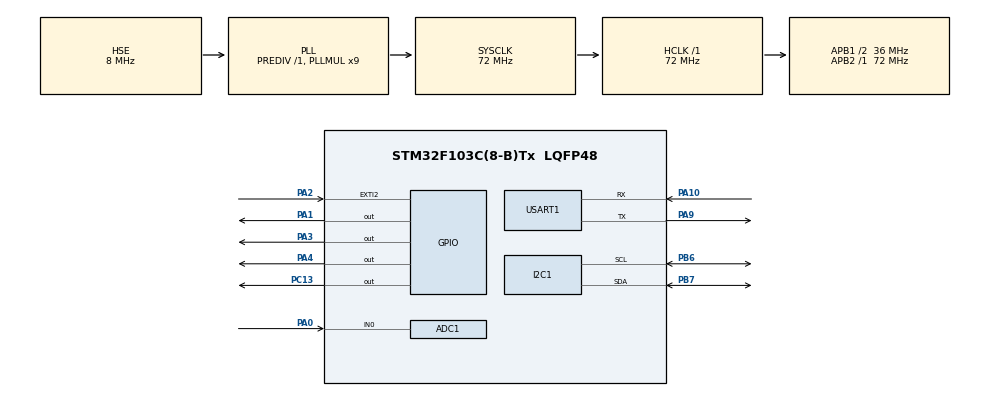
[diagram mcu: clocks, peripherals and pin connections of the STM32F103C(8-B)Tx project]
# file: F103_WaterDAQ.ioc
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ADC1.Channel-0\#ChannelRegularConversion=ADC_CHANNEL_0
ADC1.NbrOfConversionFlag=1
ADC1.Rank-0\#ChannelRegularConversion=1
ADC1.SamplingTime-0\#ChannelRegularConversion=ADC_SAMPLETIME_1CYCLE_5
ADC1.master=1
Mcu.Family=STM32F1
Mcu.Name=STM32F103C(8-B)Tx
Mcu.Package=LQFP48
NVIC.EXTI2_IRQn=true\:2\:0\:true\:false\:true\:true\:true\:true
NVIC.PriorityGroup=NVIC_PRIORITYGROUP_4
PA0-WKUP.Signal=ADCx_IN0
PA1.GPIO_ModeDefaultOutputPP=GPIO_MODE_OUTPUT_OD
PA1.GPIO_PuPd=GPIO_PULLUP
PA1.GPIO_Speed=GPIO_SPEED_FREQ_HIGH
PA1.Signal=GPIO_Output
PA10.Mode=Asynchronous
PA10.Signal=USART1_RX
PA13.Mode=Serial_Wire
PA13.Signal=SYS_JTMS-SWDIO
PA14.Mode=Serial_Wire
PA14.Signal=SYS_JTCK-SWCLK
PA2.GPIO_ModeDefaultEXTI=GPIO_MODE_IT_RISING_FALLING
PA2.GPIO_PuPd=GPIO_PULLUP
PA2.Signal=GPXTI2
PA3.GPIO_PuPd=GPIO_NOPULL
PA3.PinState=GPIO_PIN_SET
PA3.Signal=GPIO_Output
PA4.Signal=GPIO_Output
PA9.Mode=Asynchronous
PA9.Signal=USART1_TX
PB6.Mode=I2C
PB6.Signal=I2C1_SCL
PB7.Mode=I2C
PB7.Signal=I2C1_SDA
PC13-TAMPER-RTC.PinState=GPIO_PIN_SET
PC13-TAMPER-RTC.Signal=GPIO_Output
PD0-OSC_IN.Mode=HSE-External-Oscillator
PD0-OSC_IN.Signal=RCC_OSC_IN
PD1-OSC_OUT.Mode=HSE-External-Oscillator
PD1-OSC_OUT.Signal=RCC_OSC_OUT
ProjectManager.HeapSize=0x200
ProjectManager.StackSize=0x400
ProjectManager.TargetToolchain=MDK-ARM V5
RCC.ADCPresc=RCC_ADCPCLK2_DIV6
RCC.AHBFreq_Value=72000000
RCC.APB1CLKDivider=RCC_HCLK_DIV2
RCC.APB1Freq_Value=36000000
RCC.APB1TimFreq_Value=72000000
RCC.APB2Freq_Value=72000000
RCC.APB2TimFreq_Value=72000000
RCC.HCLKFreq_Value=72000000
RCC.PLLMUL=RCC_PLL_MUL9
RCC.PLLSourceVirtual=RCC_PLLSOURCE_HSE
RCC.SYSCLKFreq_VALUE=72000000
RCC.SYSCLKSource=RCC_SYSCLKSOURCE_PLLCLK
RCC.USBFreq_Value=72000000
SH.ADCx_IN0.0=ADC1_IN0,IN0
USART1.VirtualMode=VM_ASYNC
board=custom

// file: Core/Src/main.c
/* USER CODE BEGIN Header */
/**
  ******************************************************************************
  * @file           : main.c
  * @brief          : Main program body
  ******************************************************************************
  * @attention
  *
  * Copyright (c) 2026 STMicroelectronics.
  * All rights reserved.
  *
  * This software is licensed under terms that can be found in the LICENSE file
  * in the root directory of this software component.
  * If no LICENSE file comes with this software, it is provided AS-IS.
  *
  ******************************************************************************
  */
/* USER CODE END Header */
#include "main.h"

/* USER CODE BEGIN Includes */
#include <stdio.h>

/* USER CODE END Includes */

ADC_HandleTypeDef hadc1;

I2C_HandleTypeDef hi2c1;

UART_HandleTypeDef huart1;

void SystemClock_Config(void);
static void MX_GPIO_Init(void);
static void MX_USART1_UART_Init(void);
static void MX_I2C1_Init(void);
static void MX_ADC1_Init(void);

/* USER CODE BEGIN 0 */
/* ===== 6x8 ASCII 字库 + 文字显示 ===== */
static const uint8_t font6x8[95][6] = {  {0x00,0x00,0x00,0x00,0x00,0x00},  /* SP */
  {0x00,0x00,0x2F,0x00,0x00,0x00},  /* ! */
  {0x00,0x03,0x00,0x03,0x00,0x00},  /* " */
  {0x0A,0x3A,0x3F,0x0F,0x0A,0x00},  /* # */
  {0x00,0x26,0x75,0x2F,0x39,0x00},  /* $ */
  {0x27,0x15,0x3F,0x2A,0x39,0x00},  /* % */
  {0x3F,0x2D,0x33,0x28,0x00,0x00},  /* & */
  {0x00,0x00,0x03,0x00,0x00,0x00},  /* ' */
  {0x00,0x3E,0x41,0x80,0x00,0x00},  /* ( */
  {0x00,0x80,0x41,0x3E,0x00,0x00},  /* ) */
  {0x00,0x06,0x0F,0x06,0x00,0x00},  /* * */
  {0x08,0x08,0x3E,0x08,0x08,0x00},  /* + */
  {0x00,0x80,0x60,0x00,0x00,0x00},  /* , */
  {0x00,0x08,0x08,0x08,0x00,0x00},  /* - */
  {0x00,0x00,0x20,0x00,0x00,0x00},  /* . */
  {0x00,0x40,0x38,0x06,0x01,0x00},  /* / */
  {0x1E,0x29,0x25,0x1E,0x00,0x00},  /* 0 */
  {0x00,0x22,0x3F,0x20,0x00,0x00},  /* 1 */
  {0x00,0x22,0x31,0x29,0x27,0x00},  /* 2 */
  {0x00,0x21,0x25,0x25,0x1B,0x00},  /* 3 */
  {0x18,0x14,0x13,0x3F,0x10,0x00},  /* 4 */
  {0x00,0x27,0x25,0x25,0x19,0x00},  /* 5 */
  {0x00,0x1E,0x27,0x25,0x1D,0x00},  /* 6 */
  {0x00,0x01,0x31,0x0D,0x03,0x00},  /* 7 */
  {0x00,0x3B,0x25,0x25,0x1B,0x00},  /* 8 */
  {0x2E,0x29,0x29,0x1E,0x00,0x00},  /* 9 */
  {0x00,0x00,0x24,0x00,0x00,0x00},  /* : */
  {0x00,0x80,0x64,0x00,0x00,0x00},  /* ; */
  {0x00,0x08,0x14,0x22,0x00,0x00},  /* < */
  {0x00,0x14,0x14,0x14,0x14,0x00},  /* = */
  {0x00,0x22,0x14,0x08,0x00,0x00},  /* > */
  {0x00,0x29,0x09,0x0E,0x00,0x00},  /* ? */
  {0x7C,0x82,0xBD,0x9D,0x3E,0x00},  /* @ */
  {0x00,0x3E,0x11,0x3E,0x00,0x00},  /* A */
  {0x00,0x3F,0x25,0x25,0x1B,0x00},  /* B */
  {0x1E,0x21,0x21,0x21,0x00,0x00},  /* C */
  {0x3F,0x21,0x21,0x1E,0x00,0x00},  /* D */
  {0x00,0x3F,0x25,0x25,0x00,0x00},  /* E */
  {0x00,0x3F,0x05,0x05,0x00,0x00},  /* F */
  {0x1E,0x21,0x25,0x3D,0x00,0x00},  /* G */
  {0x3F,0x04,0x04,0x3F,0x00,0x00},  /* H */
  {0x00,0x21,0x3F,0x21,0x00,0x00},  /* I */
  {0x00,0x21,0x21,0x3F,0x00,0x00},  /* J */
  {0x00,0x3F,0x0C,0x12,0x21,0x00},  /* K */
  {0x00,0x3F,0x20,0x20,0x00,0x00},  /* L */
  {0x06,0x08,0x06,0x3F,0x00,0x00},  /* M */
  {0x00,0x3F,0x0C,0x3F,0x00,0x00},  /* N */
  {0x1E,0x21,0x21,0x21,0x1E,0x00},  /* O */
  {0x00,0x3F,0x09,0x09,0x06,0x00},  /* P */
  {0x1E,0x21,0x61,0xA1,0x9E,0x00},  /* Q */
  {0x00,0x3F,0x09,0x09,0x36,0x00},  /* R */
  {0x00,0x26,0x25,0x29,0x19,0x00},  /* S */
  {0x01,0x01,0x3F,0x01,0x01,0x00},  /* T */
  {0x1F,0x20,0x20,0x1F,0x00,0x00},  /* U */
  {0x00,0x1F,0x20,0x1F,0x00,0x00},  /* V */
  {0x00,0x3F,0x04,0x3F,0x00,0x00},  /* W */
  {0x21,0x12,0x0C,0x12,0x21,0x00},  /* X */
  {0x01,0x06,0x38,0x06,0x01,0x00},  /* Y */
  {0x21,0x39,0x27,0x21,0x00,0x00},  /* Z */
  {0x00,0xFF,0x81,0x00,0x00,0x00},  /* [ */
  {0x00,0x01,0x0E,0x30,0x40,0x00},  /* \ */
  {0x00,0x00,0x81,0xFF,0x00,0x00},  /* ] */
  {0x00,0x06,0x01,0x06,0x00,0x00},  /* ^ */
  {0x80,0x80,0x80,0x80,0x80,0x00},  /* _ */
  {0x00,0x00,0x01,0x00,0x00,0x00},  /* ` */
  {0x00,0x34,0x34,0x34,0x3C,0x00},  /* a */
  {0x00,0x3F,0x24,0x24,0x1C,0x00},  /* b */
  {0x00,0x38,0x24,0x24,0x00,0x00},  /* c */
  {0x38,0x24,0x24,0x3F,0x00,0x00},  /* d */
  {0x00,0x18,0x2C,0x2C,0x2C,0x00},  /* e */
  {0x04,0x04,0x3F,0x05,0x01,0x00},  /* f */
  {0xFC,0xD4,0xD4,0xDC,0x00,0x00},  /* g */
  {0x00,0x3F,0x04,0x04,0x3C,0x00},  /* h */
  {0x00,0x24,0x24,0x3D,0x20,0x00},  /* i */
  {0x00,0x84,0x84,0xFD,0x00,0x00},  /* j */
  {0x00,0x3F,0x08,0x14,0x20,0x00},  /* k */
  {0x00,0x21,0x21,0x3F,0x20,0x00},  /* l */
  {0x3C,0x04,0x3C,0x04,0x3C,0x00},  /* m */
  {0x00,0x3C,0x04,0x04,0x3C,0x00},  /* n */
  {0x18,0x24,0x24,0x18,0x00,0x00},  /* o */
  {0x00,0xFC,0x24,0x24,0x1C,0x00},  /* p */
  {0x38,0x24,0x24,0xFC,0x00,0x00},  /* q */
  {0x00,0x3C,0x04,0x04,0x0C,0x00},  /* r */
  {0x00,0x2C,0x2C,0x34,0x34,0x00},  /* s */
  {0x04,0x3E,0x24,0x24,0x00,0x00},  /* t */
  {0x00,0x3C,0x20,0x20,0x3C,0x00},  /* u */
  {0x00,0x1C,0x20,0x1C,0x00,0x00},  /* v */
  {0x0C,0x30,0x18,0x38,0x04,0x00},  /* w */
  {0x24,0x18,0x08,0x18,0x24,0x00},  /* x */
  {0x80,0x9C,0x60,0x1C,0x00,0x00},  /* y */
  {0x00,0x24,0x3C,0x24,0x00,0x00},  /* z */
  {0x00,0x08,0xF7,0x81,0x00,0x00},  /* { */
  {0x00,0x00,0xFF,0x00,0x00,0x00},  /* | */
  {0x00,0x81,0xF7,0x08,0x00,0x00},  /* } */
  {0x08,0x18,0x10,0x18,0x00,0x00},  /* ~ */};
static void oled_setpos(uint8_t page, uint8_t col);
static void oled_putchar(char c);
static void oled_puts(uint8_t page, uint8_t col, const char *s);
/* ===== SSD1306 OLED 最小驱动 ===== */
#define OLED_ADDR   0x78
static uint8_t g_oled_use_addr = 0x78;   /* 运行时可变：0x78 或 0x7A */
static void oled_cmd(uint8_t c);
static void i2c_bus_recover(void);
static void oled_dat(const uint8_t *buf, uint16_t len);
static void oled_init(void);
static void oled_fill(uint8_t val);
typedef enum { ST_IDLE = 0, ST_PRESS, ST_LONG } touch_state_t;

static touch_state_t st_touch = ST_IDLE;   /* 当前状态 */
static uint32_t t_press = 0;               /* 按下时刻 */
static uint32_t g_short_cnt = 0;           /* 短按次数 */
static uint32_t g_long_cnt  = 0;           /* 长按次数 */
static uint8_t  g_page   = 0;           /* 0=信息页 1=计数页 */
static uint8_t  g_dirty  = 1;           /* 1=需要重绘 */
static uint32_t g_tds_mv = 0;            /* TDS 输出电压 mV */
static uint32_t g_adc_raw = 0;           /* ADC 原始值 */
static uint32_t g_tds_ppm = 0;            /* 换算出的 TDS 值 ppm */
static uint8_t  g_pump = 0;                /* 水泵状态 0=关 1=开 */
static uint8_t  g_i2c_err = 0;             /* I2C 连续失败次数 */
static uint32_t g_pump_t0 = 0;               /* 水泵启动时刻，用于 3 秒自动关闭 */
static uint8_t  g_last_lv = 1;               /* 上次采到的触摸电平 */
static uint8_t  g_touch_stable = 0;         /* 同一电平连续采样次数（去抖） */
static int16_t  g_temp_x10 = -999;          /* 温度 ×10（-999=未读到） */
static uint8_t  g_ds_busy = 0;             /* 1=正在转换 */
static uint32_t g_ds_t0 = 0;
static void touch_fsm(void);
static void oled_draw_page(void);
static void tds_sample(void);
static void led_blink(uint8_t times, uint16_t on_ms, uint16_t off_ms);
static void sw_i2c_init(void);
static void sw_start(void);
static void sw_stop(void);
static uint8_t sw_write(uint8_t b);
static uint8_t sw_probe(uint8_t addr);
/* ===== DS18B20 单总线驱动 ===== */
static void dwt_init(void);
static void delay_us(uint32_t us);
static uint8_t ow_reset(void);
static void ow_write_bit(uint8_t b);
static uint8_t ow_read_bit(void);
static void ow_write_byte(uint8_t v);
static uint8_t ow_read_byte(void);

static uint8_t ds_start(void);
static int16_t ds_read(void);
static int16_t ds18b20_read_raw(void);

/* USER CODE END 0 */

int main(void)
{

  /* MCU Configuration--------------------------------------------------------*/

  /* Reset of all peripherals, Initializes the Flash interface and the Systick. */
  HAL_Init();

  /* Configure the system clock */
  SystemClock_Config();

  /* Initialize all configured peripherals */
  MX_GPIO_Init();
  MX_USART1_UART_Init();
  MX_I2C1_Init();
  MX_ADC1_Init();
  /* USER CODE BEGIN 2 */
  /* ===== I2C 探测：OLED 地址 0x78 或 0x7A ===== */
  /* 蜂鸣器实测为低电平触发：上电拉高，避免一直响 */
  HAL_GPIO_WritePin(GPIOA, GPIO_PIN_3, GPIO_PIN_SET);
  dwt_init();                     /* DWT 周期计数器，用于微秒延时 */
  uint8_t g_oled_addr = 0;
  sw_i2c_init();                  /* 软件 I2C：SCL=PB7，SDA=PB6（按本板走线） */
  if (sw_probe(0x78) == 0)      g_oled_addr = 1;
  else if (sw_probe(0x7A) == 0) g_oled_addr = 2;
  g_i2c_err = 0;
  if (g_oled_addr)
  {
    led_blink(2, 250, 150);             /* 蓝灯慢闪 2 次 = 探测到屏 */
    oled_init();
    oled_fill(0xFF);                    /* 全屏点亮 800ms 自检 */
    HAL_Delay(800);
    oled_fill(0x00);
    oled_puts(1, 4, "Group 25");
    oled_puts(3, 4, "OLED OK");
    oled_puts(5, 4, "F103C8T6");
  }
  else
  {
    led_blink(8, 80, 80);               /* 蓝灯快闪 8 次 = 没找到屏 */
  }

  /* ===== 屏幕点亮测试模式：上电即全屏黑白交替，验证屏与 I2C ===== */
#define OLED_TEST_MODE  0
#if OLED_TEST_MODE
  led_blink(3, 100, 100);              /* 蓝灯闪 3 下：程序已跑起来 */
  {
    uint8_t try_addr[2] = { 0x78, 0x7A };
    uint8_t k;
    for (k = 0; k < 2; k++)
    {
      g_oled_use_addr = try_addr[k];
      g_i2c_err = 0;
      oled_init();                     /* 若该地址无器件，传输全部失败，屏无反应 */
      oled_fill(0xFF);                 /* 全屏点亮 */
      HAL_Delay(300);
      if (g_i2c_err == 0) { break; }   /* 无失败 → 这个地址有器件 */
    }
  }
  while (1)                          /* 停在测试循环：黑白交替 + 蓝灯同步闪 */
  {
    oled_fill(0xFF);  HAL_GPIO_WritePin(GPIOC, GPIO_PIN_13, GPIO_PIN_RESET);  HAL_Delay(600);
    oled_fill(0x00);  HAL_GPIO_WritePin(GPIOC, GPIO_PIN_13, GPIO_PIN_SET);    HAL_Delay(600);
  }
#endif
  /* USER CODE END 2 */

  /* Infinite loop */
  while (1)
  {

    /* USER CODE BEGIN 3 */
    touch_fsm();                                  /* 触摸状态机，5ms 一次 */
    static uint32_t t_next = 0;
    if (HAL_GetTick() >= t_next) { t_next = HAL_GetTick() + 500; tds_sample(); g_dirty = 1; }  /* 每 500ms 采一次 */
    /* DS18B20 非阻塞：启动转换 → 等 760ms → 读取 */
    if (!g_ds_busy) {
      if (ds_start()) { g_ds_busy = 1; g_ds_t0 = HAL_GetTick(); }
    } else if ((HAL_GetTick() - g_ds_t0) >= 760) {
      int16_t raw = ds_read();
      g_ds_busy = 0;
      if (raw != -999) g_temp_x10 = (int16_t)((raw * 10) / 16);   /* raw*0.0625*10 */
      g_dirty = 1;
    }
    /* 水泵自动关闭：运行满 3 秒 */
    if (g_pump && (HAL_GetTick() - g_pump_t0 >= 3000)) {
      g_pump = 0;
      HAL_GPIO_WritePin(GPIOA, GPIO_PIN_4, GPIO_PIN_RESET);
      HAL_GPIO_WritePin(GPIOC, GPIO_PIN_13, GPIO_PIN_SET);
      g_dirty = 1;
    }
    /* TDS 超过 500ppm 视为水质异常：蜂鸣器报警（低电平响） */
    HAL_GPIO_WritePin(GPIOA, GPIO_PIN_3, (g_tds_ppm >= 500) ? GPIO_PIN_RESET : GPIO_PIN_SET);   /* 低电平响 */
    if (g_dirty) { g_dirty = 0; oled_draw_page(); }   /* 只有变化才重绘，省 I2C 带宽 */
    /* I2C 看门狗：连续 3 次失败 → 恢复总线 + 重初始化屏 */
    if (g_i2c_err >= 3) {
      i2c_bus_recover();
      oled_init();
      g_dirty = 1;
    }
    HAL_Delay(5);
  }
  /* USER CODE END 3 */
}

void SystemClock_Config(void)
{
  RCC_OscInitTypeDef RCC_OscInitStruct = {0};
  RCC_ClkInitTypeDef RCC_ClkInitStruct = {0};
  RCC_PeriphCLKInitTypeDef PeriphClkInit = {0};

  /** Initializes the RCC Oscillators according to the specified parameters
  * in the RCC_OscInitTypeDef structure.
  */
  RCC_OscInitStruct.OscillatorType = RCC_OSCILLATORTYPE_HSE;
  RCC_OscInitStruct.HSEState = RCC_HSE_ON;
  RCC_OscInitStruct.HSEPredivValue = RCC_HSE_PREDIV_DIV1;
  RCC_OscInitStruct.HSIState = RCC_HSI_ON;
  RCC_OscInitStruct.PLL.PLLState = RCC_PLL_ON;
  RCC_OscInitStruct.PLL.PLLSource = RCC_PLLSOURCE_HSE;
  RCC_OscInitStruct.PLL.PLLMUL = RCC_PLL_MUL9;
  if (HAL_RCC_OscConfig(&RCC_OscInitStruct) != HAL_OK)
  {
    Error_Handler();
  }

  /** Initializes the CPU, AHB and APB buses clocks
  */
  RCC_ClkInitStruct.ClockType = RCC_CLOCKTYPE_HCLK|RCC_CLOCKTYPE_SYSCLK
                              |RCC_CLOCKTYPE_PCLK1|RCC_CLOCKTYPE_PCLK2;
  RCC_ClkInitStruct.SYSCLKSource = RCC_SYSCLKSOURCE_PLLCLK;
  RCC_ClkInitStruct.AHBCLKDivider = RCC_SYSCLK_DIV1;
  RCC_ClkInitStruct.APB1CLKDivider = RCC_HCLK_DIV2;
  RCC_ClkInitStruct.APB2CLKDivider = RCC_HCLK_DIV1;

  if (HAL_RCC_ClockConfig(&RCC_ClkInitStruct, FLASH_LATENCY_2) != HAL_OK)
  {
    Error_Handler();
  }
  PeriphClkInit.PeriphClockSelection = RCC_PERIPHCLK_ADC;
  PeriphClkInit.AdcClockSelection = RCC_ADCPCLK2_DIV6;
  if (HAL_RCCEx_PeriphCLKConfig(&PeriphClkInit) != HAL_OK)
  {
    Error_Handler();
  }
}

static void MX_ADC1_Init(void)
{

  ADC_ChannelConfTypeDef sConfig = {0};

  /** Common config
  */
  hadc1.Instance = ADC1;
  hadc1.Init.ScanConvMode = ADC_SCAN_DISABLE;
  hadc1.Init.ContinuousConvMode = DISABLE;
  hadc1.Init.DiscontinuousConvMode = DISABLE;
  hadc1.Init.ExternalTrigConv = ADC_SOFTWARE_START;
  hadc1.Init.DataAlign = ADC_DATAALIGN_RIGHT;
  hadc1.Init.NbrOfConversion = 1;
  if (HAL_ADC_Init(&hadc1) != HAL_OK)
  {
    Error_Handler();
  }

  /** Configure Regular Channel
  */
  sConfig.Channel = ADC_CHANNEL_0;
  sConfig.Rank = ADC_REGULAR_RANK_1;
  sConfig.SamplingTime = ADC_SAMPLETIME_1CYCLE_5;
  if (HAL_ADC_ConfigChannel(&hadc1, &sConfig) != HAL_OK)
  {
    Error_Handler();
  }

}

static void MX_I2C1_Init(void)
{

  hi2c1.Instance = I2C1;
  hi2c1.Init.ClockSpeed = 100000;
  hi2c1.Init.DutyCycle = I2C_DUTYCYCLE_2;
  hi2c1.Init.OwnAddress1 = 0;
  hi2c1.Init.AddressingMode = I2C_ADDRESSINGMODE_7BIT;
  hi2c1.Init.DualAddressMode = I2C_DUALADDRESS_DISABLE;
  hi2c1.Init.OwnAddress2 = 0;
  hi2c1.Init.GeneralCallMode = I2C_GENERALCALL_DISABLE;
  hi2c1.Init.NoStretchMode = I2C_NOSTRETCH_DISABLE;
  if (HAL_I2C_Init(&hi2c1) != HAL_OK)
  {
    Error_Handler();
  }

}

static void MX_USART1_UART_Init(void)
{

  huart1.Instance = USART1;
  huart1.Init.BaudRate = 115200;
  huart1.Init.WordLength = UART_WORDLENGTH_8B;
  huart1.Init.StopBits = UART_STOPBITS_1;
  huart1.Init.Parity = UART_PARITY_NONE;
  huart1.Init.Mode = UART_MODE_TX_RX;
  huart1.Init.HwFlowCtl = UART_HWCONTROL_NONE;
  huart1.Init.OverSampling = UART_OVERSAMPLING_16;
  if (HAL_UART_Init(&huart1) != HAL_OK)
  {
    Error_Handler();
  }

}

static void MX_GPIO_Init(void)
{
  GPIO_InitTypeDef GPIO_InitStruct = {0};

  /* GPIO Ports Clock Enable */
  __HAL_RCC_GPIOC_CLK_ENABLE();
  __HAL_RCC_GPIOD_CLK_ENABLE();
  __HAL_RCC_GPIOA_CLK_ENABLE();
  __HAL_RCC_GPIOB_CLK_ENABLE();

  /*Configure GPIO pin Output Level */
  HAL_GPIO_WritePin(GPIOC, GPIO_PIN_13, GPIO_PIN_SET);

  /*Configure GPIO pin Output Level */
  HAL_GPIO_WritePin(GPIOA, GPIO_PIN_1|GPIO_PIN_4, GPIO_PIN_RESET);

  /*Configure GPIO pin Output Level */
  HAL_GPIO_WritePin(GPIOA, GPIO_PIN_3, GPIO_PIN_SET);

  /*Configure GPIO pin : PC13 */
  GPIO_InitStruct.Pin = GPIO_PIN_13;
  GPIO_InitStruct.Mode = GPIO_MODE_OUTPUT_PP;
  GPIO_InitStruct.Pull = GPIO_NOPULL;
  GPIO_InitStruct.Speed = GPIO_SPEED_FREQ_LOW;
  HAL_GPIO_Init(GPIOC, &GPIO_InitStruct);

  /*Configure GPIO pin : PA1 */
  GPIO_InitStruct.Pin = GPIO_PIN_1;
  GPIO_InitStruct.Mode = GPIO_MODE_OUTPUT_OD;
  GPIO_InitStruct.Pull = GPIO_PULLUP;
  GPIO_InitStruct.Speed = GPIO_SPEED_FREQ_HIGH;
  HAL_GPIO_Init(GPIOA, &GPIO_InitStruct);

  /*Configure GPIO pin : PA2 */
  GPIO_InitStruct.Pin = GPIO_PIN_2;
  GPIO_InitStruct.Mode = GPIO_MODE_IT_RISING_FALLING;
  GPIO_InitStruct.Pull = GPIO_PULLUP;
  HAL_GPIO_Init(GPIOA, &GPIO_InitStruct);

  /*Configure GPIO pins : PA3 PA4 */
  GPIO_InitStruct.Pin = GPIO_PIN_3|GPIO_PIN_4;
  GPIO_InitStruct.Mode = GPIO_MODE_OUTPUT_PP;
  GPIO_InitStruct.Pull = GPIO_NOPULL;
  GPIO_InitStruct.Speed = GPIO_SPEED_FREQ_LOW;
  HAL_GPIO_Init(GPIOA, &GPIO_InitStruct);

  /* EXTI interrupt init*/
  HAL_NVIC_SetPriority(EXTI2_IRQn, 2, 0);
  HAL_NVIC_EnableIRQ(EXTI2_IRQn);

}

/* USER CODE BEGIN 4 */
/* ---------- SSD1306 驱动 ---------- */
static void oled_cmd(uint8_t c)
{
  sw_start();
  if (sw_write(g_oled_use_addr)) { if (g_i2c_err < 255) g_i2c_err++; }
  sw_write(0x00);                        /* 控制字节：命令 */
  sw_write(c);
  sw_stop();
}

static void oled_dat(const uint8_t *buf, uint16_t len)
{
  uint8_t tmp[129];
  if (len > 128) len = 128;
  sw_start();
  if (sw_write(g_oled_use_addr)) { if (g_i2c_err < 255) g_i2c_err++; }
  sw_write(0x40);                        /* 控制字节：数据 */
  for (uint16_t i = 0; i < len; i++) { sw_write(buf[i]); }
  sw_stop();
}

/* I2C 总线恢复：从机把 SDA 拽住不放时，用 9 个 SCL 脉冲把它"踢"出来 */
static void i2c_bus_recover(void)
{
  GPIO_InitTypeDef gi = {0};
  uint8_t i;

  HAL_I2C_DeInit(&hi2c1);                       /* 先释放 I2C 外设 */

  gi.Pin   = GPIO_PIN_6 | GPIO_PIN_7;           /* PB6=SCL, PB7=SDA */
  gi.Mode  = GPIO_MODE_OUTPUT_OD;
  gi.Pull  = GPIO_PULLUP;
  gi.Speed = GPIO_SPEED_FREQ_HIGH;
  HAL_GPIO_Init(GPIOB, &gi);

  HAL_GPIO_WritePin(GPIOB, GPIO_PIN_7, GPIO_PIN_SET);   /* 放开 SDA */
  for (i = 0; i < 9; i++)                        /* 9 个时钟，逼从机吐完剩余位 */
  {
    HAL_GPIO_WritePin(GPIOB, GPIO_PIN_6, GPIO_PIN_RESET); delay_us(5);
    HAL_GPIO_WritePin(GPIOB, GPIO_PIN_6, GPIO_PIN_SET);   delay_us(5);
  }
  /* 手动产生 STOP：SCL 高时 SDA 由低变高 */
  HAL_GPIO_WritePin(GPIOB, GPIO_PIN_6, GPIO_PIN_SET);
  HAL_GPIO_WritePin(GPIOB, GPIO_PIN_7, GPIO_PIN_RESET); delay_us(5);
  HAL_GPIO_WritePin(GPIOB, GPIO_PIN_7, GPIO_PIN_SET);   delay_us(5);

  MX_I2C1_Init();                               /* 重新初始化 I2C */
  g_i2c_err = 0;
}
static void oled_init(void)
{
  HAL_Delay(100);
  oled_cmd(0xAE);          /* 关显示 */
  oled_cmd(0xD5); oled_cmd(0x80);
  oled_cmd(0xA8); oled_cmd(0x3F);   /* 64 行 */
  oled_cmd(0xD3); oled_cmd(0x00);
  oled_cmd(0x40);
  oled_cmd(0x8D); oled_cmd(0x14);   /* 电荷泵开 */
  oled_cmd(0x20); oled_cmd(0x00);   /* 水平寻址 */
  oled_cmd(0xA1);                   /* 左右不镜像 */
  oled_cmd(0xC8);                   /* 上下不镜像 */
  oled_cmd(0xDA); oled_cmd(0x12);
  oled_cmd(0x81); oled_cmd(0xCF);   /* 亮度 */
  oled_cmd(0xD9); oled_cmd(0xF1);
  oled_cmd(0xDB); oled_cmd(0x40);
  oled_cmd(0xA4);
  oled_cmd(0xA6);                   /* 正常显示 */
  oled_cmd(0xAF);                   /* 开显示 */
}

static void oled_setpos(uint8_t page, uint8_t col)
{
  oled_cmd(0xB0 + page);
  oled_cmd(col & 0x0F);
  oled_cmd(0x10 | (col >> 4));
}

static void oled_putchar(char c)
{
  if (c < 32 || c > 126) c = ' ';
  oled_dat(font6x8[c - 32], 6);
}

static void oled_puts(uint8_t page, uint8_t col, const char *s)
{
  oled_setpos(page, col);
  while (*s) { oled_putchar(*s++); }
}
static void oled_fill(uint8_t val)
{
  uint8_t line[128];
  for (uint8_t i = 0; i < 128; i++) line[i] = val;
  for (uint8_t page = 0; page < 8; page++)
  {
    oled_cmd(0xB0 + page);          /* 选页 */
    oled_cmd(0x00);                 /* 列低位 */
    oled_cmd(0x10);                 /* 列高位 */
    oled_dat(line, 128);
  }
}
/* 触摸按键状态机：每 5ms 调用一次 */
/* ================= 软件 I2C（按本板走线：SCL=PB7，SDA=PB6） =================
   原因：底板把 OLED 的 SCL/SDA 接到了 PB7/PB6，与 STM32 硬件 I2C1
        （PB6=SCL、PB7=SDA）相反，故改用软件模拟，引脚按板子来。 */
#define I2C_SCL_H()   HAL_GPIO_WritePin(GPIOB, GPIO_PIN_7, GPIO_PIN_SET)
#define I2C_SCL_L()   HAL_GPIO_WritePin(GPIOB, GPIO_PIN_7, GPIO_PIN_RESET)
#define I2C_SDA_H()   HAL_GPIO_WritePin(GPIOB, GPIO_PIN_6, GPIO_PIN_SET)
#define I2C_SDA_L()   HAL_GPIO_WritePin(GPIOB, GPIO_PIN_6, GPIO_PIN_RESET)
#define I2C_SDA_R()   HAL_GPIO_ReadPin(GPIOB, GPIO_PIN_6)

static void sw_i2c_init(void)
{
  GPIO_InitTypeDef g = {0};
  g.Pin   = GPIO_PIN_6 | GPIO_PIN_7;
  g.Mode  = GPIO_MODE_OUTPUT_OD;
  g.Pull  = GPIO_PULLUP;
  g.Speed = GPIO_SPEED_FREQ_HIGH;
  HAL_GPIO_Init(GPIOB, &g);
  I2C_SCL_H(); I2C_SDA_H();
}

static void sw_dly(void) { delay_us(3); }        /* 约 150 kHz */

static void sw_start(void)
{
  I2C_SDA_H(); I2C_SCL_H(); sw_dly();
  I2C_SDA_L(); sw_dly();
  I2C_SCL_L(); sw_dly();
}

static void sw_stop(void)
{
  I2C_SDA_L(); sw_dly();
  I2C_SCL_H(); sw_dly();
  I2C_SDA_H(); sw_dly();
}

static uint8_t sw_write(uint8_t b)
{
  uint8_t i, nack;
  for (i = 0; i < 8; i++)
  {
    if (b & 0x80) { I2C_SDA_H(); } else { I2C_SDA_L(); }
    b <<= 1;
    sw_dly(); I2C_SCL_H(); sw_dly(); I2C_SCL_L(); sw_dly();
  }
  I2C_SDA_H(); sw_dly();                 /* 释放 SDA，等从机应答 */
  I2C_SCL_H(); sw_dly();
  nack = (I2C_SDA_R() == GPIO_PIN_RESET) ? 0 : 1;   /* 0=有应答 */
  I2C_SCL_L(); sw_dly();
  return nack;
}

static uint8_t sw_probe(uint8_t addr)
{
  uint8_t nack;
  sw_start();
  nack = sw_write(addr);
  sw_stop();
  return nack;                            /* 0 = 器件存在 */
}
/* LED 闪烁提示：PC13 低电平点亮 */
static void led_blink(uint8_t times, uint16_t on_ms, uint16_t off_ms)
{
  uint8_t i;
  for (i = 0; i < times; i++)
  {
    HAL_GPIO_WritePin(GPIOC, GPIO_PIN_13, GPIO_PIN_RESET);
    HAL_Delay(on_ms);
    HAL_GPIO_WritePin(GPIOC, GPIO_PIN_13, GPIO_PIN_SET);
    HAL_Delay(off_ms);
  }
}
static void touch_fsm(void)
{
  uint32_t now = HAL_GetTick();
  /* --- debounce: level must stay unchanged 3 samples (~15ms) --- */
  {
    uint8_t raw = (uint8_t)HAL_GPIO_ReadPin(GPIOA, GPIO_PIN_2);
    if (raw == g_last_lv) { if (g_touch_stable < 250) g_touch_stable++; }
    else { g_touch_stable = 0; g_last_lv = raw; }
    if (g_touch_stable < 3) return;
  }
  uint8_t  lv  = (uint8_t)HAL_GPIO_ReadPin(GPIOA, GPIO_PIN_2);  /* 0=按下 1=松开 */

  switch (st_touch)
  {
    case ST_IDLE:
      if (lv == 0) { t_press = now; st_touch = ST_PRESS; }
      break;

    case ST_PRESS:
      if (lv == 1) {
        if (now - t_press < 1000) {
          g_short_cnt++;
          g_page ^= 1;              /* short press: switch display page only */
          g_dirty = 1;
        }
        st_touch = ST_IDLE;
      } else if (now - t_press >= 1000) {
        g_long_cnt++;
        g_pump    = 1;              /* long press: run pump, auto-stop after 3s */
        g_pump_t0 = now;
        HAL_GPIO_WritePin(GPIOA, GPIO_PIN_4, GPIO_PIN_SET);
        HAL_GPIO_WritePin(GPIOC, GPIO_PIN_13, GPIO_PIN_RESET);
        g_dirty = 1;
        st_touch = ST_LONG;
      }
      break;

    case ST_LONG:
      if (lv == 1) st_touch = ST_IDLE;
      break;
  }
}
int fputc(int ch, FILE *f)
{
  HAL_UART_Transmit(&huart1, (uint8_t *)&ch, 1, 0xFFFF);
  return ch;
}

/* mV → TDS(ppm)，厂家经验公式（按 5V 供电标定） */
static uint32_t tds_mv_to_ppm(uint32_t mv)
{
  float v = (float)mv / 1000.0f;
  float p = (133.42f * v * v * v - 255.86f * v * v + 857.39f * v) * 0.5f;
  if (p < 0.0f) p = 0.0f;
  if (p > 9999.0f) p = 9999.0f;
  return (uint32_t)p;
}
/* 读一次 TDS 输出的 ADC 值，换算成 mV */
static void tds_sample(void)
{
  HAL_ADC_Start(&hadc1);
  if (HAL_ADC_PollForConversion(&hadc1, 20) == HAL_OK)
  {
    g_adc_raw = HAL_ADC_GetValue(&hadc1);
    g_tds_mv  = (g_adc_raw * 3300UL) / 4096UL;   /* 12 位满量程 4096，参考 3.3V */
    g_tds_ppm = tds_mv_to_ppm(g_tds_mv);
  }
  HAL_ADC_Stop(&hadc1);
}
/* ---------- DWT 微秒延时 ---------- */
static void dwt_init(void)
{
  CoreDebug->DEMCR |= CoreDebug_DEMCR_TRCENA_Msk;
  DWT->CYCCNT = 0;
  DWT->CTRL  |= DWT_CTRL_CYCCNTENA_Msk;
}

static void delay_us(uint32_t us)
{
  uint32_t start = DWT->CYCCNT;
  uint32_t ticks = us * (SystemCoreClock / 1000000U);
  while ((DWT->CYCCNT - start) < ticks) { }
}

/* ---------- 单总线时序（PA1 开漏 + 上拉） ---------- */
#define OW_LOW()   HAL_GPIO_WritePin(GPIOA, GPIO_PIN_1, GPIO_PIN_RESET)
#define OW_REL()   HAL_GPIO_WritePin(GPIOA, GPIO_PIN_1, GPIO_PIN_SET)
#define OW_IN()    HAL_GPIO_ReadPin(GPIOA, GPIO_PIN_1)

static uint8_t ow_reset(void)
{
  uint8_t presence;
  OW_LOW();  delay_us(480);      /* 复位脉冲 ≥480us */
  OW_REL();  delay_us(70);       /* 等从机应答 */
  presence = (OW_IN() == GPIO_PIN_RESET) ? 1 : 0;   /* 低 = 器件在 */
  delay_us(410);
  return presence;
}

static void ow_write_bit(uint8_t b)
{
  if (b) { OW_LOW(); delay_us(6);  OW_REL(); delay_us(64); }   /* 短低 = 1 */
  else   { OW_LOW(); delay_us(60); OW_REL(); delay_us(10); }   /* 长低 = 0 */
}

static uint8_t ow_read_bit(void)
{
  uint8_t b;
  OW_LOW(); delay_us(3);         /* 产生读时隙起点 */
  OW_REL(); delay_us(10);        /* 让出总线，从机驱动 */
  b = (OW_IN() == GPIO_PIN_SET) ? 1 : 0;
  delay_us(53);
  return b;
}

static void ow_write_byte(uint8_t v)
{
  for (uint8_t i = 0; i < 8; i++) { ow_write_bit(v & 0x01); v >>= 1; }
}

static uint8_t ow_read_byte(void)
{
  uint8_t v = 0;
  for (uint8_t i = 0; i < 8; i++) { v >>= 1; if (ow_read_bit()) v |= 0x80; }
  return v;
}

/* 读一次温度原始值（0.0625℃/LSB），失败返回 -999 */
static uint8_t ds_start(void)
{
  if (!ow_reset()) return 0;
  ow_write_byte(0xCC);
  ow_write_byte(0x44);
  return 1;
}

static int16_t ds_read(void)
{
  if (!ow_reset()) return -999;
  ow_write_byte(0xCC);
  ow_write_byte(0xBE);
  return (int16_t)(((uint16_t)ow_read_byte() << 8) | ow_read_byte());
}
static int16_t ds18b20_read_raw(void)
{ return ds_read(); }

static void oled_draw_page(void)
{
  char buf[20];
  oled_fill(0x00);                 /* 清屏 */
  if (g_page == 0)
  {
    oled_puts(1, 4,  "Group 25");
    oled_puts(3, 4,  "OLED OK");
    oled_puts(5, 4,  "F103C8T6");
  }
  else
  {
    oled_puts(0, 0, "Water Quality");
    sprintf(buf, "TDS %lu ppm", (unsigned long)g_tds_ppm);
    oled_puts(2, 0, buf);
    if (g_temp_x10 == -999) { oled_puts(4, 0, "Temp --.-C"); }
    else {
      int16_t t10 = g_temp_x10 < 0 ? -g_temp_x10 : g_temp_x10;
      sprintf(buf, "Temp %d.%dC", t10 / 10, t10 % 10);
      oled_puts(4, 0, buf);
    }
    sprintf(buf, "%lu mV  %s", (unsigned long)g_tds_mv, g_pump ? "P:ON" : "P:OFF");
    oled_puts(6, 0, buf);
  }
}/* 说明：旧的 EXTI 回调已移除，按键事件统一由 touch_fsm 轮询处理 */
/* USER CODE END 4 */

void Error_Handler(void)
{
  __disable_irq();
  while (1)
  {
  }
}
